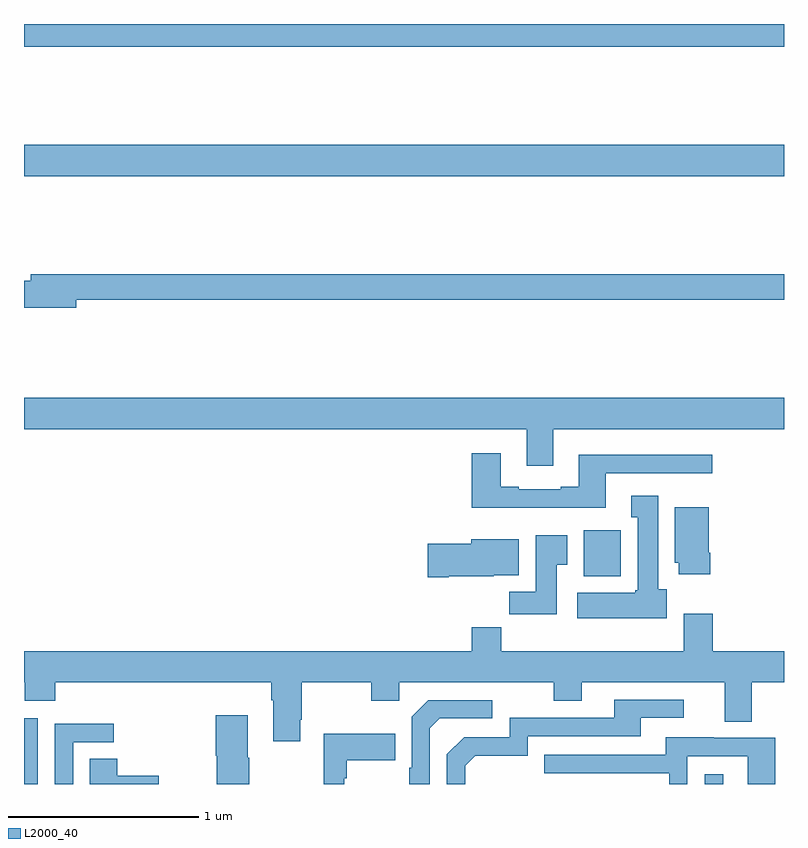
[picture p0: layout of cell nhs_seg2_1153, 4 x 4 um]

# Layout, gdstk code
import gdstk
lib = gdstk.Library(unit=1e-6, precision=1e-09)
def R(c, l, rs):  # rectangles x0, y0, x1, y1
    for r in rs: c.add(gdstk.rectangle(r[:2], r[2:], *l))
def P(c, l, *ps):  # polygons
    for p in ps: c.add(gdstk.Polygon(p, *l))
L2000_40 = (2000, 40)

nhs_seg2_1153 = lib.new_cell('nhs_seg2_1153')
R(nhs_seg2_1153, L2000_40, [(171,613.8,171.073,614.146), (174.582,613.8,174.679,613.852), (173.945,614.894,174.142,615.136), (171,617,175,617.164), (171,617.68,175,617.8)])
P(nhs_seg2_1153, L2000_40, [(171.274,616.348),(175,616.348),(175,616.484),(171.035,616.484),(171.035,616.448),(171,616.448),(171,616.306),(171.274,616.306)],
  [(173.785,615.668),(175,615.668),(175,615.832),(171,615.832),(171,615.668),(173.645,615.668),(173.645,615.474),(173.785,615.474)],
  [(174.061,615.435),(174.622,615.435),(174.622,615.532),(173.921,615.532),(173.921,615.364),(173.825,615.364),(173.825,615.351),(173.605,615.351),(173.605,615.364),(173.509,615.364),(173.509,615.541),(173.357,615.541),(173.357,615.254),(174.061,615.254)],
  [(174.382,614.826),(174.337,614.826),(174.337,615.316),(174.197,615.316),(174.197,615.203),(174.23,615.203),(174.23,614.82),(174.217,614.82),(174.217,614.806),(173.913,614.806),(173.913,614.672),(174.382,614.672)],
  [(174.612,615.016),(174.604,615.016),(174.604,615.256),(174.425,615.256),(174.425,614.964),(174.446,614.964),(174.446,614.904),(174.612,614.904)],
  [(173.803,614.953),(173.86,614.953),(173.86,615.109),(173.693,615.109),(173.693,614.812),(173.554,614.812),(173.554,614.694),(173.803,614.694)],
  [(173.236,614.894),(173.472,614.894),(173.472,614.9),(173.605,614.9),(173.605,615.088),(173.354,615.088),(173.354,615.065),(173.124,615.065),(173.124,614.887),(173.236,614.887)],
  [(172.453,614.137),(172.461,614.137),(172.461,614.336),(172.828,614.336),(172.828,614.237),(172.974,614.237),(172.974,614.336),(173.788,614.336),(173.788,614.237),(173.935,614.237),(173.935,614.336),(174.689,614.336),(174.689,614.128),(174.829,614.128),(174.829,614.336),(175,614.336),(175,614.5),(174.626,614.5),(174.626,614.695),(174.473,614.695),(174.473,614.5),(173.513,614.5),(173.513,614.624),(173.357,614.624),(173.357,614.5),(171,614.5),(171,614.336),(171.004,614.336),(171.004,614.237),(171.164,614.237),(171.164,614.336),(172.301,614.336),(172.301,614.24),(172.313,614.24),(172.313,614.025),(172.453,614.025)],
  [(173.322,613.896),(173.375,613.949),(173.652,613.949),(173.652,614.052),(174.247,614.052),(174.247,614.148),(174.472,614.148),(174.472,614.244),(174.107,614.244),(174.107,614.148),(173.556,614.148),(173.556,614.046),(173.316,614.046),(173.226,613.956),(173.226,613.8),(173.322,613.8)],
  [(173.136,614.094),(173.187,614.145),(173.464,614.145),(173.464,614.241),(173.127,614.241),(173.04,614.154),(173.04,613.885),(173.028,613.885),(173.028,613.8),(173.136,613.8)],
  [(172.185,613.937),(172.177,613.937),(172.177,614.161),(172.01,614.161),(172.01,613.948),(172.015,613.948),(172.015,613.8),(172.185,613.8)],
  [(171.258,614.019),(171.472,614.019),(171.472,614.118),(171.162,614.118),(171.162,613.8),(171.258,613.8)],
  [(172.686,613.829),(172.699,613.829),(172.699,613.925),(172.955,613.925),(172.955,614.065),(172.578,614.065),(172.578,613.8),(172.686,613.8)],
  [(174.492,613.947),(174.81,613.947),(174.81,613.8),(174.955,613.8),(174.955,614.043),(174.631,614.043),(174.631,614.047),(174.377,614.047),(174.377,613.953),(173.737,613.953),(173.737,613.857),(174.396,613.857),(174.396,613.8),(174.492,613.8)],
  [(171.709,613.844),(171.491,613.844),(171.491,613.934),(171.347,613.934),(171.347,613.8),(171.709,613.8)])

lib.write_gds('nhs_seg2_1153.gds')
